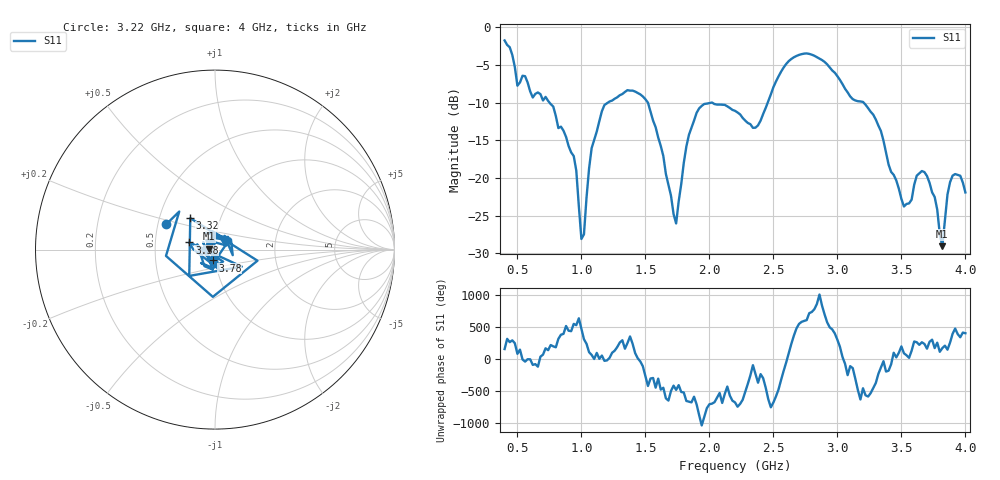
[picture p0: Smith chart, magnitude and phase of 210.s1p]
!Created with skrf (http://scikit-rf.org).
# Hz S RI R 50.0
!freq ReS11 ImS11
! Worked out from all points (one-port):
!   181 points, 400 MHz to 4 GHz, reference 50 ohm
!   lowest |S11| = -29.0 dB at 3.82 GHz (marker M1), VSWR 1.07, Z = 46.6 + j0.411 ohm
!   |S11| at or under -10 dB: 751.4 MHz to 1.206 GHz (455 MHz wide, 46.5 % of centre); 1.52 GHz to 2.014 GHz (493.7 MHz wide, 27.9 % of centre); 3.205 GHz to end of sweep (the widest 3 of 4)
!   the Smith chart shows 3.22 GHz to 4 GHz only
!   S11 on the Smith chart (normalised r, x): 3.22 GHz: 0.55, +0.17; 3.32 GHz: 0.72, +0.26; 3.38 GHz: 0.75, +0.06; 3.78 GHz: 0.97, -0.12; 4 GHz: 1.11, +0.13
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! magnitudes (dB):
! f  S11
! 400 MHz  -1.7
! 500 MHz  -7.7
! 560 MHz  -6.5
! 860 MHz  -13.7
! 960 MHz  -19.0
! 1 GHz  -28.1
! 1.02 GHz  -27.5
! 1.08 GHz  -16.0
! 1.18 GHz  -10.3
! 1.3 GHz  -9.0
! 1.52 GHz  -10.0
! 1.74 GHz  -26.0
! 1.76 GHz  -23.1
! 1.84 GHz  -14.3
! 1.92 GHz  -10.7
! 2.2 GHz  -11.1
! 2.36 GHz  -13.3
! 2.66 GHz  -4.0
! 3.1 GHz  -9.2
! 3.22 GHz  -10.3
! 3.32 GHz  -13.0
! 3.38 GHz  -16.6
! 3.56 GHz  -23.4
! 3.66 GHz  -19.1
! 3.78 GHz  -24.2
! 3.82 GHz  -29.0
! 3.9 GHz  -19.7
! 4 GHz  -21.9
